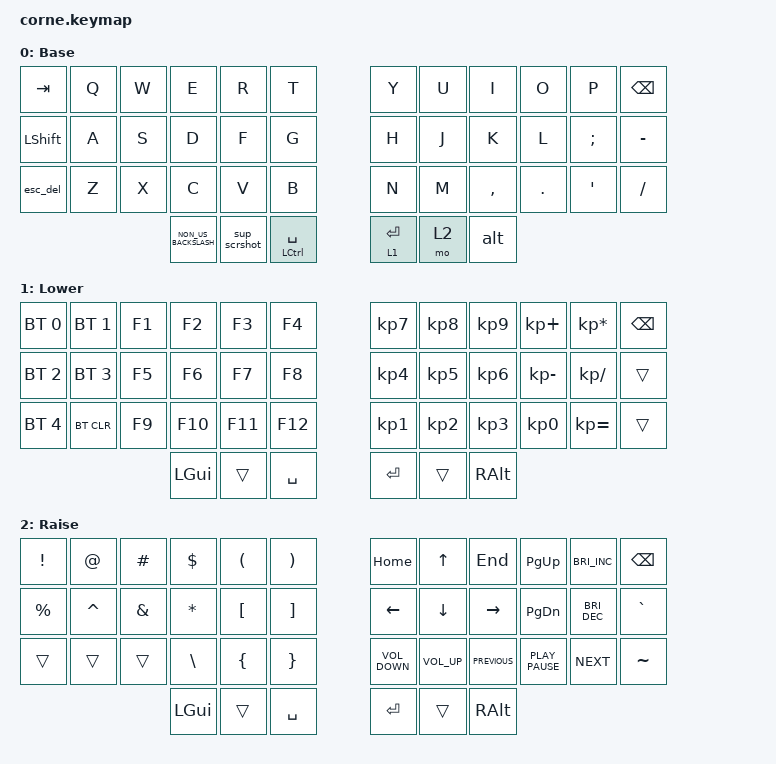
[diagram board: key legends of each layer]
/*
 * Copyright (c) 2020 The ZMK Contributors
 *
 * SPDX-License-Identifier: MIT
 */

#include <behaviors.dtsi>
#include <dt-bindings/zmk/bt.h>
#include <dt-bindings/zmk/keys.h>

/ {
    combos {
        compatible = "zmk,combos";

        bluetooth {
            bindings = <&bt BT_NXT>;
            key-positions = <36 30>;
            layers = <0>;
        };
    };

    behaviors {
        esc_del: esc_del {
            compatible = "zmk,behavior-tap-dance";
            label = "ESC_DEL";
            #binding-cells = <0>;
            bindings = <&kp ESCAPE>, <&kp DELETE>;
        };

        sup_scrshot: sup_scrshot {
            compatible = "zmk,behavior-tap-dance";
            label = "SUP_SCRSHOT";
            #binding-cells = <0>;
            bindings = <&kp LEFT_WIN>, <&kp PRINTSCREEN>;
        };

        alt: alt {
            compatible = "zmk,behavior-tap-dance";
            label = "ALT";
            #binding-cells = <0>;
            bindings = <&kp LEFT_ALT>, <&kp RIGHT_ALT>;
        };
    };

    keymap {
        compatible = "zmk,keymap";

        default_layer {
            // -----------------------------------------------------------------------------------------
            // |  TAB |  Q  |  W  |  E  |  R  |  T  |   |  Y  |  U   |  I  |  O  |  P  | BKSP |
            // | CTRL |  A  |  S  |  D  |  F  |  G  |   |  H  |  J   |  K  |  L  |  ;  |  '   |
            // | SHFT |  Z  |  X  |  C  |  V  |  B  |   |  N  |  M   |  ,  |  .  |  /  | ESC  |
            //                    | GUI | LWR | SPC |   | ENT | RSE  | ALT |

            display-name = "Base";
            bindings = <
&kp TAB    &kp Q  &kp W  &kp E                 &kp R         &kp T              &kp Y        &kp U  &kp I      &kp O    &kp P     &kp BSPC
&kp LSHFT  &kp A  &kp S  &kp D                 &kp F         &kp G              &kp H        &kp J  &kp K      &kp L    &kp SEMI  &kp MINUS
&esc_del   &kp Z  &kp X  &kp C                 &kp V         &kp B              &kp N        &kp M  &kp COMMA  &kp DOT  &kp SQT   &kp SLASH
                         &kp NON_US_BACKSLASH  &sup_scrshot  &mt LCTRL SPACE    &lt 1 ENTER  &mo 2  &alt
            >;
        };

        lower_layer {
            // -----------------------------------------------------------------------------------------
            // |  TAB |  1  |  2  |  3  |  4  |  5  |   |  6  |  7  |  8  |  9  |  0  | BKSP |
            // | BTCLR| BT1 | BT2 | BT3 | BT4 | BT5 |   | LFT | DWN |  UP | RGT |     |      |
            // | SHFT |     |     |     |     |     |   |     |     |     |     |     |      |
            //                    | GUI |     | SPC |   | ENT |     | ALT |

            display-name = "Lower";
            bindings = <
&bt BT_SEL 0  &bt BT_SEL 1  &kp F1  &kp F2    &kp F3   &kp F4       &kp KP_NUMBER_7  &kp KP_NUMBER_8  &kp KP_NUMBER_9  &kp KP_PLUS      &kp KP_ASTERISK  &kp BSPC
&bt BT_SEL 2  &bt BT_SEL 3  &kp F5  &kp F6    &kp F7   &kp F8       &kp KP_NUMBER_4  &kp KP_NUMBER_5  &kp KP_NUMBER_6  &kp KP_MINUS     &kp KP_DIVIDE    &trans
&bt BT_SEL 4  &bt BT_CLR    &kp F9  &kp F10   &kp F11  &kp F12      &kp KP_NUMBER_1  &kp KP_NUMBER_2  &kp KP_NUMBER_3  &kp KP_NUMBER_0  &kp KP_EQUAL     &trans
                                    &kp LGUI  &trans   &kp SPACE    &kp RET          &trans           &kp RALT
            >;
        };

        raise_layer {
            // -----------------------------------------------------------------------------------------
            // |  TAB |  !  |  @  |  #  |  $  |  %  |   |  ^  |  &  |  *  |  (  |  )  | BKSP |
            // | CTRL |     |     |     |     |     |   |  -  |  =  |  [  |  ]  |  \  |  `   |
            // | SHFT |     |     |     |     |     |   |  _  |  +  |  {  |  }  | "|" |  ~   |
            //                    | GUI |     | SPC |   | ENT |     | ALT |

            display-name = "Raise";
            bindings = <
&kp EXCL   &kp AT     &kp HASH  &kp DOLLAR     &kp LPAR          &kp RPAR             &kp HOME           &kp UP_ARROW     &kp END         &kp PAGE_UP       &kp C_BRIGHTNESS_INC  &kp BSPC
&kp PRCNT  &kp CARET  &kp AMPS  &kp STAR       &kp LEFT_BRACKET  &kp RIGHT_BRACKET    &kp LEFT           &kp DOWN         &kp RIGHT       &kp PAGE_DOWN     &kp C_BRIGHTNESS_DEC  &kp GRAVE
&trans     &trans     &trans    &kp BACKSLASH  &kp LBRC          &kp RBRC             &kp C_VOLUME_DOWN  &kp C_VOLUME_UP  &kp K_PREVIOUS  &kp K_PLAY_PAUSE  &kp K_NEXT            &kp TILDE
                                &kp LGUI       &trans            &kp SPACE            &kp RET            &trans           &kp RALT
            >;
        };

        extra_1 { status = "reserved"; };

        extra_2 { status = "reserved"; };

        extra_3 { status = "reserved"; };
    };
};
